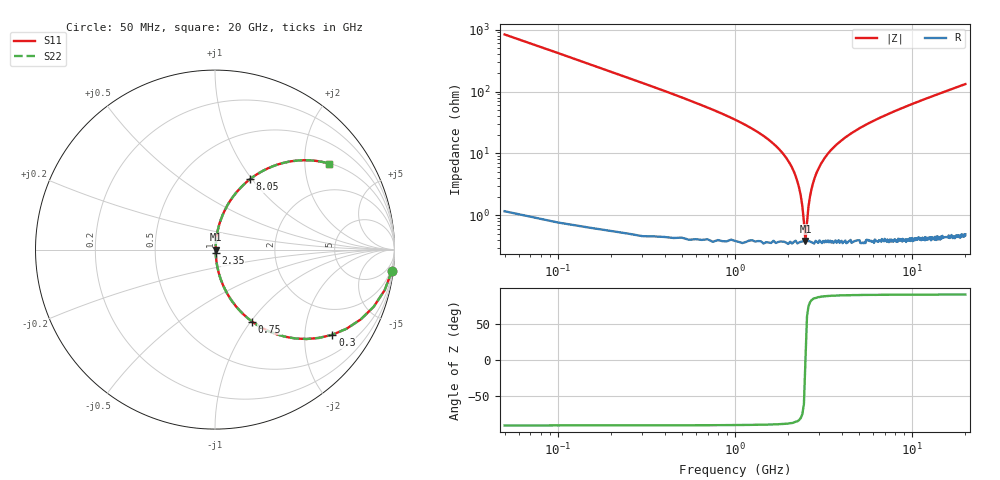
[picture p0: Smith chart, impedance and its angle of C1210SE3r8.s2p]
! AVX Thin Film Operation		Date: April 2012
! Description: Accu-P® Series, Thin Film, SMD, RF Capacitor
! Part Number: 12101J3R8ABTTR
!	100	MHz	-	20.05	GHz
!	Serial	Measurements
#	MHZ	S	MA	R	50
!	S11	S21	S12	S22
!	dB	Phase	dB	Phase	dB	Phase	dB	Phase
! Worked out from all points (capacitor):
!   400 points, 50 MHz to 20 GHz, reference 50 ohm
!   read as one part in series: C = 3.8 pF near 150 MHz
!   lowest |Z| = 386 mohm at 2.5 GHz (marker M1)
!   series resonance near 2.501 GHz, so ESL is about 1.1 nH
!   S11 on the Smith chart (normalised r, x): 50 MHz: 1, -17; 300 MHz: 1.01, -2.75; 750 MHz: 1.01, -1.02; 2.35 GHz: 1.01, -0.04; 8.05 GHz: 1.01, +0.98; 20 GHz: 1.01, +2.64
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50  0.993 -6.8  0.119 83.1  0.119 83.1  0.993 -6.8
100  0.972 -13.4  0.232 76.5  0.232 76.5  0.972 -13.4
150  0.94 -19.8  0.338 70.1  0.338 70.1  0.94 -19.8
300  0.808 -35.9  0.587 53.9  0.587 53.9  0.808 -35.9
500  0.625 -51.0  0.777 38.7  0.777 38.7  0.625 -51.0
750  0.452 -62.7  0.889 26.8  0.889 26.8  0.452 -62.7
1850  0.102 -82.1  0.991 5.8  0.991 5.8  0.102 -82.1
2150  0.051 -82.9  0.995 2.9  0.995 2.9  0.051 -82.9
2350  0.021 -78.7  0.996 1.2  0.996 1.2  0.021 -78.7
2400  0.014 -74.1  0.996 0.8  0.996 0.8  0.014 -74.1
2500  0.003689 -1.1  0.996 0.0  0.996 0.0  0.003689 -1.1
2600  0.014 73.4  0.996 -0.7  0.996 -0.7  0.014 73.4
2750  0.032 81.6  0.996 -1.8  0.996 -1.8  0.032 81.6
3050  0.067 83.0  0.994 -3.8  0.994 -3.8  0.067 83.0
3400  0.104 82.0  0.991 -5.9  0.991 -5.9  0.104 82.0
4650  0.215 76.6  0.973 -12.4  0.973 -12.4  0.215 76.6
6700  0.359 68.4  0.93 -21.0  0.93 -21.0  0.359 68.4
8050  0.437 63.6  0.896 -25.9  0.896 -25.9  0.437 63.6
10050  0.532 57.5  0.843 -32.2  0.843 -32.2  0.532 57.5
13350  0.652 49.0  0.755 -40.7  0.755 -40.7  0.652 49.0
16700  0.736 42.3  0.673 -47.4  0.673 -47.4  0.736 42.3
20000  0.795 37.1  0.603 -52.7  0.603 -52.7  0.795 37.1
